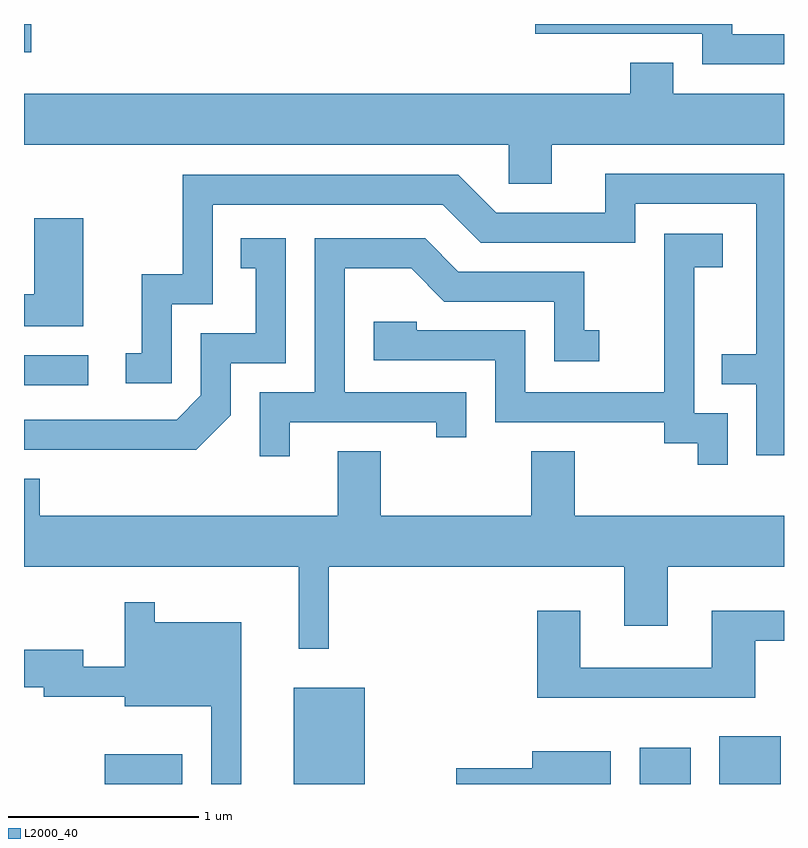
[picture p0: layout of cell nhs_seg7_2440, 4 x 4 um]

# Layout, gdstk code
import gdstk
lib = gdstk.Library(unit=1e-6, precision=1e-09)
def R(c, l, rs):  # rectangles x0, y0, x1, y1
    for r in rs: c.add(gdstk.rectangle(r[:2], r[2:], *l))
def P(c, l, *ps):  # polygons
    for p in ps: c.add(gdstk.Polygon(p, *l))
L2000_40 = (2000, 40)

nhs_seg7_2440 = lib.new_cell('nhs_seg7_2440')
R(nhs_seg7_2440, L2000_40, [(260.036,1744.252,260.444,1744.409), (261.031,1744.252,261.404,1744.759), (262.851,1744.252,263.119,1744.444), (263.271,1744.252,263.594,1744.504), (259.611,1746.351,259.948,1746.509), (259.611,1748.103,259.649,1748.252)])
P(nhs_seg7_2440, L2000_40, [(263.611,1748.199),(263.339,1748.199),(263.339,1748.252),(262.303,1748.252),(262.303,1748.201),(263.181,1748.201),(263.181,1748.041),(263.611,1748.041)],
  [(262.389,1747.616),(263.611,1747.616),(263.611,1747.884),(263.029,1747.884),(263.029,1748.049),(262.801,1748.049),(262.801,1747.884),(259.611,1747.884),(259.611,1747.616),(262.161,1747.616),(262.161,1747.411),(262.389,1747.411)],
  [(263.611,1747.464),(262.671,1747.464),(262.671,1747.259),(262.097,1747.259),(261.897,1747.459),(260.446,1747.459),(260.446,1746.934),(260.231,1746.934),(260.231,1746.519),(260.147,1746.519),(260.147,1746.361),(260.389,1746.361),(260.389,1746.776),(260.604,1746.776),(260.604,1747.301),(261.814,1747.301),(262.014,1747.101),(262.829,1747.101),(262.829,1747.306),(263.466,1747.306),(263.466,1746.514),(263.283,1746.514),(263.283,1746.356),(263.466,1746.356),(263.466,1745.981),(263.611,1745.981)],
  [(259.924,1747.229),(259.666,1747.229),(259.666,1746.829),(259.611,1746.829),(259.611,1746.661),(259.924,1746.661)],
  [(263.314,1746.204),(263.139,1746.204),(263.139,1746.971),(263.289,1746.971),(263.289,1747.149),(262.981,1747.149),(262.981,1746.314),(262.249,1746.314),(262.249,1746.639),(261.679,1746.639),(261.679,1746.684),(261.451,1746.684),(261.451,1746.481),(262.091,1746.481),(262.091,1746.156),(262.981,1746.156),(262.981,1746.046),(263.156,1746.046),(263.156,1745.933),(263.314,1745.933)],
  [(260.699,1746.194),(260.699,1746.466),(260.989,1746.466),(260.989,1747.124),(260.753,1747.124),(260.753,1746.966),(260.831,1746.966),(260.831,1746.624),(260.541,1746.624),(260.541,1746.297),(260.414,1746.169),(259.611,1746.169),(259.611,1746.011),(260.517,1746.011)],
  [(261.009,1746.156),(261.781,1746.156),(261.781,1746.078),(261.939,1746.078),(261.939,1746.314),(261.299,1746.314),(261.299,1746.966),(261.649,1746.966),(261.824,1746.791),(262.401,1746.791),(262.401,1746.476),(262.638,1746.476),(262.638,1746.639),(262.559,1746.639),(262.559,1746.949),(261.897,1746.949),(261.722,1747.124),(261.141,1747.124),(261.141,1746.314),(260.851,1746.314),(260.851,1745.978),(261.009,1745.978)],
  [(261.214,1745.396),(262.771,1745.396),(262.771,1745.086),(262.999,1745.086),(262.999,1745.396),(263.611,1745.396),(263.611,1745.664),(262.509,1745.664),(262.509,1746.004),(262.281,1746.004),(262.281,1745.664),(261.489,1745.664),(261.489,1746.004),(261.261,1746.004),(261.261,1745.664),(259.694,1745.664),(259.694,1745.859),(259.611,1745.859),(259.611,1745.396),(261.056,1745.396),(261.056,1744.963),(261.214,1744.963)],
  [(260.754,1745.104),(260.299,1745.104),(260.299,1745.208),(260.141,1745.208),(260.141,1744.869),(259.924,1744.869),(259.924,1744.959),(259.611,1744.959),(259.611,1744.761),(259.716,1744.761),(259.716,1744.711),(260.141,1744.711),(260.141,1744.661),(260.596,1744.661),(260.596,1744.252),(260.754,1744.252)],
  [(263.459,1745.006),(263.611,1745.006),(263.611,1745.164),(263.231,1745.164),(263.231,1744.864),(262.539,1744.864),(262.539,1745.164),(262.311,1745.164),(262.311,1744.706),(263.459,1744.706)],
  [(262.699,1744.424),(262.286,1744.424),(262.286,1744.334),(261.886,1744.334),(261.886,1744.252),(262.699,1744.252)])

lib.write_gds('nhs_seg7_2440.gds')
